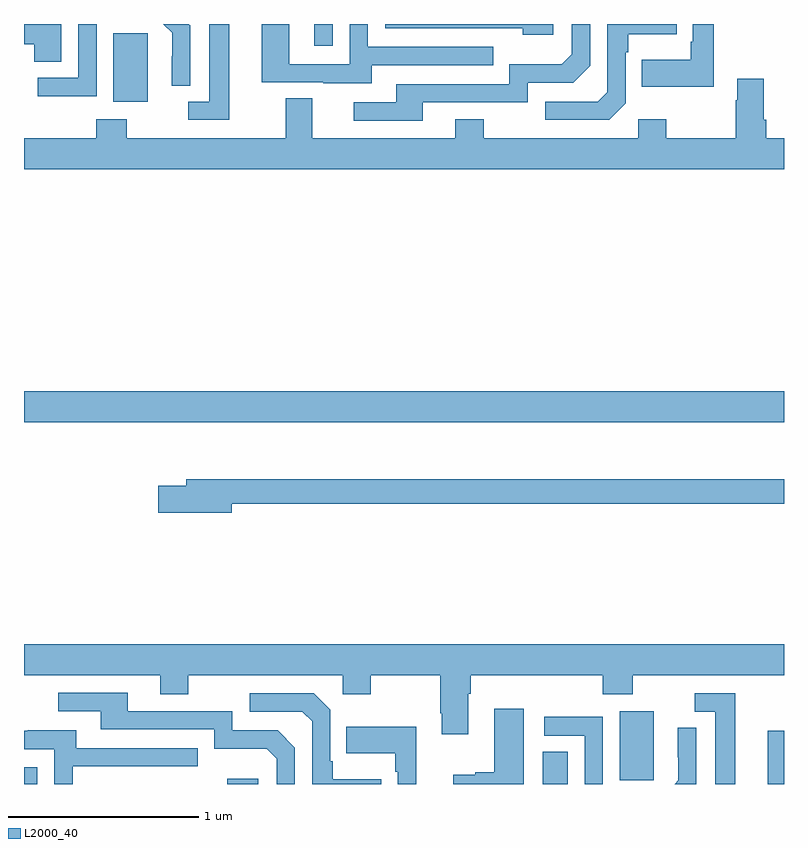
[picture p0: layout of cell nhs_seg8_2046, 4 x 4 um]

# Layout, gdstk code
import gdstk
lib = gdstk.Library(unit=1e-6, precision=1e-09)
def R(c, l, rs):  # rectangles x0, y0, x1, y1
    for r in rs: c.add(gdstk.rectangle(r[:2], r[2:], *l))
def P(c, l, *ps):  # polygons
    for p in ps: c.add(gdstk.Polygon(p, *l))
L2000_40 = (2000, 40)

nhs_seg8_2046 = lib.new_cell('nhs_seg8_2046')
R(nhs_seg8_2046, L2000_40, [(239,1143.9,239.07,1143.988), (240.071,1143.9,240.232,1143.928), (241.73,1143.9,241.861,1144.07), (242.915,1143.9,243,1144.179), (242.135,1143.921,242.314,1144.282), (239,1145.804,243,1145.968), (239.471,1147.49,239.65,1147.851), (240.527,1147.785,240.624,1147.9)])
P(nhs_seg8_2046, L2000_40, [(239.874,1147.894),(239.868,1147.9),(239.732,1147.9),(239.78,1147.853),(239.78,1147.73),(239.778,1147.73),(239.778,1147.576),(239.874,1147.576)],
  [(241.786,1147.9),(240.9,1147.9),(240.9,1147.878),(241.625,1147.878),(241.625,1147.844),(241.786,1147.844)],
  [(239.382,1147.9),(239.286,1147.9),(239.286,1147.617),(239.073,1147.617),(239.073,1147.519),(239.382,1147.519)],
  [(240.079,1147.9),(239.975,1147.9),(239.975,1147.491),(239.865,1147.491),(239.865,1147.395),(240.079,1147.395)],
  [(239.197,1147.9),(239,1147.9),(239,1147.793),(239.054,1147.793),(239.054,1147.702),(239.197,1147.702)],
  [(242.166,1147.482),(242.166,1147.751),(242.179,1147.751),(242.179,1147.847),(242.435,1147.847),(242.435,1147.9),(242.07,1147.9),(242.07,1147.542),(242.019,1147.491),(241.743,1147.491),(241.743,1147.395),(242.079,1147.395)],
  [(242.629,1147.9),(242.52,1147.9),(242.52,1147.807),(242.508,1147.807),(242.508,1147.711),(242.251,1147.711),(242.251,1147.571),(242.629,1147.571)],
  [(241.099,1147.488),(241.65,1147.488),(241.65,1147.59),(241.89,1147.59),(241.98,1147.68),(241.98,1147.9),(241.884,1147.9),(241.884,1147.74),(241.831,1147.687),(241.554,1147.687),(241.554,1147.584),(240.959,1147.584),(240.959,1147.488),(240.735,1147.488),(240.735,1147.392),(241.099,1147.392)],
  [(240.829,1147.683),(241.469,1147.683),(241.469,1147.779),(240.81,1147.779),(240.81,1147.9),(240.714,1147.9),(240.714,1147.689),(240.396,1147.689),(240.396,1147.9),(240.251,1147.9),(240.251,1147.593),(240.575,1147.593),(240.575,1147.589),(240.829,1147.589)],
  [(242.753,1147.612),(242.753,1147.499),(242.746,1147.499),(242.746,1147.3),(242.379,1147.3),(242.379,1147.399),(242.232,1147.399),(242.232,1147.3),(241.419,1147.3),(241.419,1147.399),(241.271,1147.399),(241.271,1147.3),(240.517,1147.3),(240.517,1147.508),(240.377,1147.508),(240.377,1147.3),(239.541,1147.3),(239.541,1147.399),(239.381,1147.399),(239.381,1147.3),(239,1147.3),(239,1147.136),(243,1147.136),(243,1147.3),(242.906,1147.3),(242.906,1147.396),(242.893,1147.396),(242.893,1147.612)],
  [(240.094,1145.374),(243,1145.374),(243,1145.503),(239.855,1145.503),(239.855,1145.469),(239.706,1145.469),(239.706,1145.327),(240.094,1145.327)],
  [(241.339,1144.376),(241.352,1144.376),(241.352,1144.472),(242.045,1144.472),(242.045,1144.373),(242.205,1144.373),(242.205,1144.472),(243,1144.472),(243,1144.636),(239,1144.636),(239,1144.472),(239.717,1144.472),(239.717,1144.373),(239.865,1144.373),(239.865,1144.472),(240.678,1144.472),(240.678,1144.373),(240.825,1144.373),(240.825,1144.472),(241.192,1144.472),(241.192,1144.273),(241.199,1144.273),(241.199,1144.161),(241.339,1144.161)],
  [(240.426,1144.092),(240.336,1144.182),(240.096,1144.182),(240.096,1144.284),(239.545,1144.284),(239.545,1144.38),(239.181,1144.38),(239.181,1144.284),(239.405,1144.284),(239.405,1144.188),(240,1144.188),(240,1144.085),(240.277,1144.085),(240.33,1144.032),(240.33,1143.9),(240.426,1143.9)],
  [(242.743,1144.377),(242.529,1144.377),(242.529,1144.281),(242.639,1144.281),(242.639,1143.9),(242.743,1143.9)],
  [(240.881,1143.925),(240.625,1143.925),(240.625,1144.021),(240.612,1144.021),(240.612,1144.29),(240.525,1144.377),(240.189,1144.377),(240.189,1144.281),(240.465,1144.281),(240.516,1144.23),(240.516,1143.9),(240.881,1143.9)],
  [(241.63,1144.297),(241.475,1144.297),(241.475,1143.962),(241.376,1143.962),(241.376,1143.949),(241.26,1143.949),(241.26,1143.9),(241.63,1143.9)],
  [(242.046,1144.254),(241.737,1144.254),(241.737,1144.155),(241.95,1144.155),(241.95,1143.9),(242.046,1143.9)],
  [(241.064,1144.201),(240.697,1144.201),(240.697,1144.061),(240.954,1144.061),(240.954,1143.965),(240.966,1143.965),(240.966,1143.9),(241.064,1143.9)],
  [(242.538,1144.196),(242.442,1144.196),(242.442,1144.042),(242.444,1144.042),(242.444,1143.92),(242.424,1143.9),(242.538,1143.9)],
  [(239.256,1143.993),(239.915,1143.993),(239.915,1144.089),(239.275,1144.089),(239.275,1144.183),(239.021,1144.183),(239.021,1144.179),(239,1144.179),(239,1144.083),(239.16,1144.083),(239.16,1143.9),(239.256,1143.9)])

lib.write_gds('nhs_seg8_2046.gds')
